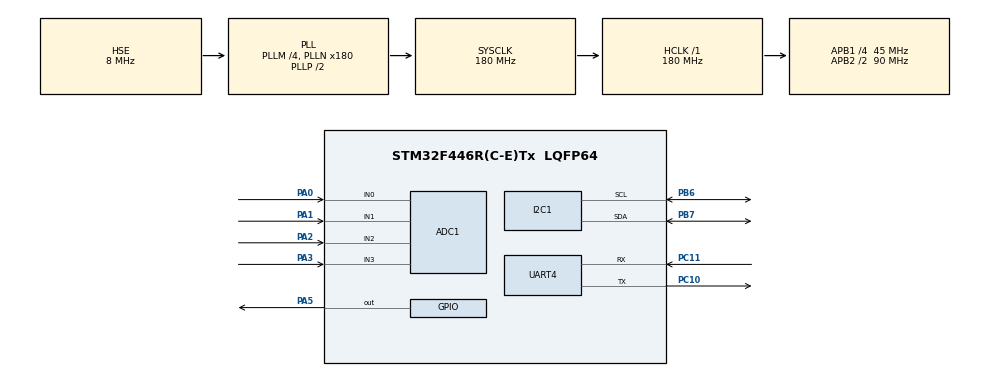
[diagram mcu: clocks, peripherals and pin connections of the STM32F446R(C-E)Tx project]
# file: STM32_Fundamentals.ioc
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ADC1.Channel-1\#ChannelRegularConversion=ADC_CHANNEL_0
ADC1.Channel-2\#ChannelRegularConversion=ADC_CHANNEL_1
ADC1.Channel-3\#ChannelRegularConversion=ADC_CHANNEL_2
ADC1.Channel-4\#ChannelRegularConversion=ADC_CHANNEL_3
ADC1.ClockPrescaler=ADC_CLOCK_SYNC_PCLK_DIV6
ADC1.ContinuousConvMode=DISABLE
ADC1.DMAContinuousRequests=DISABLE
ADC1.DiscontinuousConvMode=DISABLE
ADC1.EOCSelection=ADC_EOC_SEQ_CONV
ADC1.NbrOfConversion=4
ADC1.NbrOfConversionFlag=1
ADC1.Rank-1\#ChannelRegularConversion=1
ADC1.Rank-2\#ChannelRegularConversion=2
ADC1.Rank-3\#ChannelRegularConversion=3
ADC1.Rank-4\#ChannelRegularConversion=4
ADC1.SamplingTime-1\#ChannelRegularConversion=ADC_SAMPLETIME_3CYCLES
ADC1.SamplingTime-2\#ChannelRegularConversion=ADC_SAMPLETIME_3CYCLES
ADC1.SamplingTime-3\#ChannelRegularConversion=ADC_SAMPLETIME_3CYCLES
ADC1.SamplingTime-4\#ChannelRegularConversion=ADC_SAMPLETIME_3CYCLES
ADC1.ScanConvMode=ENABLE
ADC1.master=1
Dma.ADC1.0.Direction=DMA_PERIPH_TO_MEMORY
Dma.ADC1.0.FIFOMode=DMA_FIFOMODE_DISABLE
Dma.ADC1.0.Instance=DMA2_Stream0
Dma.ADC1.0.MemDataAlignment=DMA_MDATAALIGN_HALFWORD
Dma.ADC1.0.MemInc=DMA_MINC_ENABLE
Dma.ADC1.0.Mode=DMA_NORMAL
Dma.ADC1.0.PeriphDataAlignment=DMA_PDATAALIGN_HALFWORD
Dma.ADC1.0.PeriphInc=DMA_PINC_DISABLE
Dma.ADC1.0.Priority=DMA_PRIORITY_LOW
Dma.Request0=ADC1
I2C1.I2C_Mode=I2C_Standard
Mcu.Family=STM32F4
Mcu.Name=STM32F446R(C-E)Tx
Mcu.Package=LQFP64
NVIC.ADC_IRQn=true\:0\:0\:false\:false\:true\:true\:true\:true
NVIC.DMA2_Stream0_IRQn=true\:0\:0\:false\:false\:true\:false\:true\:true
NVIC.PriorityGroup=NVIC_PRIORITYGROUP_4
NVIC.UART4_IRQn=true\:0\:0\:false\:false\:true\:true\:true\:true
PA0-WKUP.Signal=ADCx_IN0
PA1.Signal=ADCx_IN1
PA13.Mode=Serial_Wire
PA13.Signal=SYS_JTMS-SWDIO
PA14.Mode=Serial_Wire
PA14.Signal=SYS_JTCK-SWCLK
PA2.Signal=ADCx_IN2
PA3.Signal=ADCx_IN3
PA5.Signal=GPIO_Output
PB6.Mode=I2C
PB6.Signal=I2C1_SCL
PB7.Mode=I2C
PB7.Signal=I2C1_SDA
PC10.Mode=Asynchronous
PC10.Signal=UART4_TX
PC11.Mode=Asynchronous
PC11.Signal=UART4_RX
PH0-OSC_IN.Mode=HSE-External-Clock-Source
PH0-OSC_IN.Signal=RCC_OSC_IN
PH1-OSC_OUT.Mode=HSE-External-Clock-Source
PH1-OSC_OUT.Signal=RCC_OSC_OUT
ProjectManager.HeapSize=0x200
ProjectManager.StackSize=0x400
ProjectManager.TargetToolchain=STM32CubeIDE
RCC.AHBFreq_Value=180000000
RCC.APB1CLKDivider=RCC_HCLK_DIV4
RCC.APB1Freq_Value=45000000
RCC.APB1TimFreq_Value=90000000
RCC.APB2CLKDivider=RCC_HCLK_DIV2
RCC.APB2Freq_Value=90000000
RCC.APB2TimFreq_Value=180000000
RCC.CortexFreq_Value=180000000
RCC.HCLKFreq_Value=180000000
RCC.HSE_VALUE=8000000
RCC.PLLM=4
RCC.PLLN=180
RCC.PLLSourceVirtual=RCC_PLLSOURCE_HSE
RCC.SYSCLKFreq_VALUE=180000000
RCC.SYSCLKSource=RCC_SYSCLKSOURCE_PLLCLK
RCC.USBFreq_Value=180000000
RCC.VCOOutputFreq_Value=360000000
SH.ADCx_IN0.0=ADC1_IN0,IN0
SH.ADCx_IN1.0=ADC1_IN1,IN1
SH.ADCx_IN2.0=ADC1_IN2,IN2
SH.ADCx_IN3.0=ADC1_IN3,IN3
UART4.VirtualMode=Asynchronous
board=custom

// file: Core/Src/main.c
/* USER CODE BEGIN Header */
/**
  ******************************************************************************
  * @file           : main.c
  * @brief          : Main program body
  ******************************************************************************
  * @attention
  *
  * Copyright (c) 2026 STMicroelectronics.
  * All rights reserved.
  *
  * This software is licensed under terms that can be found in the LICENSE file
  * in the root directory of this software component.
  * If no LICENSE file comes with this software, it is provided AS-IS.
  *
  ******************************************************************************
  */
/* USER CODE END Header */
#include "main.h"

/* USER CODE BEGIN Includes */
#include <stdio.h>
#include <string.h>
/* USER CODE END Includes */

/* USER CODE BEGIN PD */
#define DS3231_ADDRESS 0xD0
/* USER CODE END PD */

ADC_HandleTypeDef hadc1;
DMA_HandleTypeDef hdma_adc1;

I2C_HandleTypeDef hi2c1;

UART_HandleTypeDef huart4;

/* USER CODE BEGIN PV */
// volatile uint8_t usart2DataReady = 0;
// volatile uint8_t uart4DataReady = 0;
// volatile uint16_t usart2size;
// volatile uint16_t uart4size;

// uint8_t usart2RxData[64];
// uint8_t uart4RxData[64];

// volatile uint16_t ADC_VAL[4];
// volatile int isADCFinished = 0;
// uint32_t countloop = 0;

struct
{
uint8_t seconds;
uint8_t minutes;
uint8_t hours;
uint8_t dayofweek;
uint8_t dayofmonth;
uint8_t month;
uint8_t year;
}
time;

char buffer[15];
/* USER CODE END PV */

void SystemClock_Config(void);
static void MX_GPIO_Init(void);
static void MX_DMA_Init(void);
static void MX_UART4_Init(void);
static void MX_ADC1_Init(void);
static void MX_I2C1_Init(void);
/* USER CODE BEGIN PFP */
void HAL_ADC_ConvCpltCallback(ADC_HandleTypeDef *hadc);
void pcf8574_write(uint8_t *data, uint16_t size);
void lcd_write_byte(uint8_t value, uint8_t rs);
void lcd_init(void);
void lcd_send_string(const char *str);
void lcd_put_cur(uint8_t row, uint8_t col);
void lcd_send_int(int number);
void lcd_send_float(float number);
uint8_t decToBcd(uint8_t value);
uint8_t bcdToDec(uint8_t value);
void set_time(uint8_t sec, uint8_t min, uint8_t hour, uint8_t dow, uint8_t dom, uint8_t month, uint8_t year);
void get_time(void);
float get_temp(void);
void force_temp_conv(void);
/* USER CODE END PFP */

int main(void)
{

  /* MCU Configuration--------------------------------------------------------*/

  /* Reset of all peripherals, Initializes the Flash interface and the Systick. */
  HAL_Init();

  /* Configure the system clock */
  SystemClock_Config();

  /* Initialize all configured peripherals */
  MX_GPIO_Init();
  MX_DMA_Init();
  MX_UART4_Init();
  MX_ADC1_Init();
  MX_I2C1_Init();
  /* USER CODE BEGIN 2 */
//  HAL_UARTEx_ReceiveToIdle_IT(&huart2, usart2RxData, 64);
//  HAL_UARTEx_ReceiveToIdle_IT(&huart4, uart4RxData, 64);
//  HAL_ADC_Start_DMA(&hadc1, (uint32_t*)ADC_VAL, 4);
  lcd_init();

  set_time(0, 37, 11, 2, 10, 11, 26);

  /* USER CODE END 2 */

  /* Infinite loop */
  /* USER CODE BEGIN WHILE */
  while(1)
  {
	  get_time();
	  snprintf(buffer, sizeof(buffer), "%02d:%02d:%02d", time.hours, time.minutes, time.seconds);
	  lcd_put_cur(0, 0);
	  lcd_send_string(buffer);

	  lcd_put_cur(1, 0);
	  snprintf(buffer, sizeof(buffer), "%02d-%02d-20%02d", time.dayofmonth, time.month, time.year);
	  lcd_send_string(buffer);

	  lcd_put_cur(0, 10);
	  force_temp_conv();
	  float temp = get_temp();
	  snprintf(buffer, sizeof(buffer), "%-6.2f", temp);
	  lcd_send_string(buffer);

	  HAL_Delay(500);

    /* USER CODE END WHILE */

  }
}

void SystemClock_Config(void)
{
  RCC_OscInitTypeDef RCC_OscInitStruct = {0};
  RCC_ClkInitTypeDef RCC_ClkInitStruct = {0};

  /** Configure the main internal regulator output voltage
  */
  __HAL_RCC_PWR_CLK_ENABLE();
  __HAL_PWR_VOLTAGESCALING_CONFIG(PWR_REGULATOR_VOLTAGE_SCALE1);

  /** Initializes the RCC Oscillators according to the specified parameters
  * in the RCC_OscInitTypeDef structure.
  */
  RCC_OscInitStruct.OscillatorType = RCC_OSCILLATORTYPE_HSE;
  RCC_OscInitStruct.HSEState = RCC_HSE_BYPASS;
  RCC_OscInitStruct.PLL.PLLState = RCC_PLL_ON;
  RCC_OscInitStruct.PLL.PLLSource = RCC_PLLSOURCE_HSE;
  RCC_OscInitStruct.PLL.PLLM = 4;
  RCC_OscInitStruct.PLL.PLLN = 180;
  RCC_OscInitStruct.PLL.PLLP = RCC_PLLP_DIV2;
  RCC_OscInitStruct.PLL.PLLQ = 2;
  RCC_OscInitStruct.PLL.PLLR = 2;
  if (HAL_RCC_OscConfig(&RCC_OscInitStruct) != HAL_OK)
  {
    Error_Handler();
  }

  /** Activate the Over-Drive mode
  */
  if (HAL_PWREx_EnableOverDrive() != HAL_OK)
  {
    Error_Handler();
  }

  /** Initializes the CPU, AHB and APB buses clocks
  */
  RCC_ClkInitStruct.ClockType = RCC_CLOCKTYPE_HCLK|RCC_CLOCKTYPE_SYSCLK
                              |RCC_CLOCKTYPE_PCLK1|RCC_CLOCKTYPE_PCLK2;
  RCC_ClkInitStruct.SYSCLKSource = RCC_SYSCLKSOURCE_PLLCLK;
  RCC_ClkInitStruct.AHBCLKDivider = RCC_SYSCLK_DIV1;
  RCC_ClkInitStruct.APB1CLKDivider = RCC_HCLK_DIV4;
  RCC_ClkInitStruct.APB2CLKDivider = RCC_HCLK_DIV2;

  if (HAL_RCC_ClockConfig(&RCC_ClkInitStruct, FLASH_LATENCY_5) != HAL_OK)
  {
    Error_Handler();
  }
}

static void MX_ADC1_Init(void)
{

  ADC_ChannelConfTypeDef sConfig = {0};

  /** Configure the global features of the ADC (Clock, Resolution, Data Alignment and number of conversion)
  */
  hadc1.Instance = ADC1;
  hadc1.Init.ClockPrescaler = ADC_CLOCK_SYNC_PCLK_DIV6;
  hadc1.Init.Resolution = ADC_RESOLUTION_12B;
  hadc1.Init.ScanConvMode = ENABLE;
  hadc1.Init.ContinuousConvMode = DISABLE;
  hadc1.Init.DiscontinuousConvMode = DISABLE;
  hadc1.Init.ExternalTrigConvEdge = ADC_EXTERNALTRIGCONVEDGE_NONE;
  hadc1.Init.ExternalTrigConv = ADC_SOFTWARE_START;
  hadc1.Init.DataAlign = ADC_DATAALIGN_RIGHT;
  hadc1.Init.NbrOfConversion = 4;
  hadc1.Init.DMAContinuousRequests = DISABLE;
  hadc1.Init.EOCSelection = ADC_EOC_SEQ_CONV;
  if (HAL_ADC_Init(&hadc1) != HAL_OK)
  {
    Error_Handler();
  }

  /** Configure for the selected ADC regular channel its corresponding rank in the sequencer and its sample time.
  */
  sConfig.Channel = ADC_CHANNEL_0;
  sConfig.Rank = 1;
  sConfig.SamplingTime = ADC_SAMPLETIME_3CYCLES;
  if (HAL_ADC_ConfigChannel(&hadc1, &sConfig) != HAL_OK)
  {
    Error_Handler();
  }

  /** Configure for the selected ADC regular channel its corresponding rank in the sequencer and its sample time.
  */
  sConfig.Channel = ADC_CHANNEL_1;
  sConfig.Rank = 2;
  if (HAL_ADC_ConfigChannel(&hadc1, &sConfig) != HAL_OK)
  {
    Error_Handler();
  }

  /** Configure for the selected ADC regular channel its corresponding rank in the sequencer and its sample time.
  */
  sConfig.Channel = ADC_CHANNEL_2;
  sConfig.Rank = 3;
  if (HAL_ADC_ConfigChannel(&hadc1, &sConfig) != HAL_OK)
  {
    Error_Handler();
  }

  /** Configure for the selected ADC regular channel its corresponding rank in the sequencer and its sample time.
  */
  sConfig.Channel = ADC_CHANNEL_3;
  sConfig.Rank = 4;
  if (HAL_ADC_ConfigChannel(&hadc1, &sConfig) != HAL_OK)
  {
    Error_Handler();
  }

}

static void MX_I2C1_Init(void)
{

  hi2c1.Instance = I2C1;
  hi2c1.Init.ClockSpeed = 100000;
  hi2c1.Init.DutyCycle = I2C_DUTYCYCLE_2;
  hi2c1.Init.OwnAddress1 = 0;
  hi2c1.Init.AddressingMode = I2C_ADDRESSINGMODE_7BIT;
  hi2c1.Init.DualAddressMode = I2C_DUALADDRESS_DISABLE;
  hi2c1.Init.OwnAddress2 = 0;
  hi2c1.Init.GeneralCallMode = I2C_GENERALCALL_DISABLE;
  hi2c1.Init.NoStretchMode = I2C_NOSTRETCH_DISABLE;
  if (HAL_I2C_Init(&hi2c1) != HAL_OK)
  {
    Error_Handler();
  }

}

static void MX_UART4_Init(void)
{

  huart4.Instance = UART4;
  huart4.Init.BaudRate = 115200;
  huart4.Init.WordLength = UART_WORDLENGTH_8B;
  huart4.Init.StopBits = UART_STOPBITS_1;
  huart4.Init.Parity = UART_PARITY_NONE;
  huart4.Init.Mode = UART_MODE_TX_RX;
  huart4.Init.HwFlowCtl = UART_HWCONTROL_NONE;
  huart4.Init.OverSampling = UART_OVERSAMPLING_16;
  if (HAL_UART_Init(&huart4) != HAL_OK)
  {
    Error_Handler();
  }

}

static void MX_DMA_Init(void)
{

  /* DMA controller clock enable */
  __HAL_RCC_DMA2_CLK_ENABLE();

  /* DMA interrupt init */
  /* DMA2_Stream0_IRQn interrupt configuration */
  HAL_NVIC_SetPriority(DMA2_Stream0_IRQn, 0, 0);
  HAL_NVIC_EnableIRQ(DMA2_Stream0_IRQn);

}

static void MX_GPIO_Init(void)
{
  GPIO_InitTypeDef GPIO_InitStruct = {0};

  /* GPIO Ports Clock Enable */
  __HAL_RCC_GPIOH_CLK_ENABLE();
  __HAL_RCC_GPIOA_CLK_ENABLE();
  __HAL_RCC_GPIOC_CLK_ENABLE();
  __HAL_RCC_GPIOB_CLK_ENABLE();

  /*Configure GPIO pin Output Level */
  HAL_GPIO_WritePin(GPIOA, GPIO_PIN_5, GPIO_PIN_RESET);

  /*Configure GPIO pin : PA5 */
  GPIO_InitStruct.Pin = GPIO_PIN_5;
  GPIO_InitStruct.Mode = GPIO_MODE_OUTPUT_PP;
  GPIO_InitStruct.Pull = GPIO_NOPULL;
  GPIO_InitStruct.Speed = GPIO_SPEED_FREQ_LOW;
  HAL_GPIO_Init(GPIOA, &GPIO_InitStruct);

}

/* USER CODE BEGIN 4 */

//void HAL_ADC_ConvCpltCallback(ADC_HandleTypeDef *hadc)
//{
//	if (hadc->Instance == ADC1)
//	{
//		isADCFinished = 1;
//	}
//}

void pcf8574_write(uint8_t *data, uint16_t size)
{
	HAL_I2C_Master_Transmit(&hi2c1, 0x4E, data, size, 100);
}

void lcd_write_byte(uint8_t value, uint8_t rs)
{
    uint8_t upper = value & 0xF0;
    uint8_t lower = (value & 0x0F) << 4;

    rs = !!rs;

    uint8_t control = 0x08 | rs;

    uint8_t bytes[4] =
    {
        upper | control | 0x04,
        upper | control,
        lower | control | 0x04,
        lower | control
    };

    pcf8574_write(bytes , 4);
}

void lcd_init(void)
{
    uint8_t init_8bit[2] = {0x3C, 0x38};
    HAL_Delay(50);

    pcf8574_write(init_8bit , 2);
    HAL_Delay(5);

    pcf8574_write(init_8bit , 2);
    HAL_Delay(1);

    pcf8574_write(init_8bit , 2);
    HAL_Delay(10);

    uint8_t init_4bit[2] = {0x2c, 0x28};
    pcf8574_write(init_4bit , 2);
    HAL_Delay(1);

    lcd_write_byte(0x28, 0);
    HAL_Delay(1);

    lcd_write_byte(0x08, 0);
    HAL_Delay(1);

    lcd_write_byte(0x01, 0);
    HAL_Delay(2);

    lcd_write_byte(0x06, 0);
    HAL_Delay(1);

    lcd_write_byte(0x0C, 0);
    HAL_Delay(1);
}

void lcd_send_string(const char *str)
{
    while(*str)
    {
        lcd_write_byte((uint8_t)*str++, 1);
    }
}

void lcd_put_cur(uint8_t row, uint8_t col)
{
    if (row > 1 || col > 15)
    {
        return;
    }

    uint8_t address = (row == 0) ? col : (0x40 + col);
    lcd_write_byte(0x80 | address, 0);
}

void lcd_send_int(int number)
{
    char buffer[12];
    snprintf(buffer, sizeof(buffer), "%d", number);
    lcd_send_string(buffer);
}

void lcd_send_float(float number)
{
    char buffer[20];
    snprintf(buffer, sizeof(buffer), "%.2f", number);
    lcd_send_string(buffer);
}

uint8_t decToBcd(uint8_t value)
{
	return value / 10 << 4 | value % 10;
}

uint8_t bcdToDec(uint8_t value)
{
	return (value >> 4) * 10 + (value & 0x0F);
}

void set_time(uint8_t sec, uint8_t min, uint8_t hour, uint8_t dow, uint8_t dom, uint8_t month, uint8_t year)
{
	uint8_t buffer[7];

	buffer[0] = decToBcd(sec);
	buffer[1] = decToBcd(min);
	buffer[2] = decToBcd(hour);
	buffer[3] = decToBcd(dow);
	buffer[4] = decToBcd(dom);
	buffer[5] = decToBcd(month);
	buffer[6] = decToBcd(year);

	HAL_I2C_Mem_Write(&hi2c1, DS3231_ADDRESS, 0x00, 1, buffer, 7, 1000);
}

void get_time(void)
{
	uint8_t buffer[7];
	HAL_I2C_Mem_Read(&hi2c1, DS3231_ADDRESS, 0x00, 1, buffer, 7, 1000);
	time.seconds = bcdToDec(buffer[0]);
	time.minutes = bcdToDec(buffer[1]);
	time.hours = bcdToDec(buffer[2]);
	time.dayofweek = bcdToDec(buffer[3]);
	time.dayofmonth = bcdToDec(buffer[4]);
	time.month = bcdToDec(buffer[5]);
	time.year = bcdToDec(buffer[6]);
}

float get_temp(void)
{
	uint8_t buffer[2];
	HAL_I2C_Mem_Read(&hi2c1, DS3231_ADDRESS, 0x11, 1, buffer, 2, 1000);
	return (int8_t)buffer[0] + (buffer[1] >> 6) * 0.25f;
}

void force_temp_conv(void)
{
	uint8_t status_register = 0;
	uint8_t control_register = 0;
	HAL_I2C_Mem_Read(&hi2c1, DS3231_ADDRESS, 0x0F, 1, &status_register, 1, 1000);
	if (!(status_register & 0x04))
	{
		HAL_I2C_Mem_Read(&hi2c1, DS3231_ADDRESS, 0x0E, 1, &control_register, 1, 1000);
		control_register |= 0x20;
		HAL_I2C_Mem_Write(&hi2c1, DS3231_ADDRESS, 0x0E, 1, &control_register, 1, 1000);
		uint32_t start = HAL_GetTick();
		while (HAL_GetTick() - start < 300)
		{
			HAL_I2C_Mem_Read(&hi2c1, DS3231_ADDRESS, 0x0E, 1, &control_register, 1, 1000);
			if (!(control_register & 0x20))
			{
				break;
			}
			HAL_Delay(1);
		}

	}
}
/* USER CODE END 4 */

void Error_Handler(void)
{
  __disable_irq();
  while (1)
  {
  }
}
